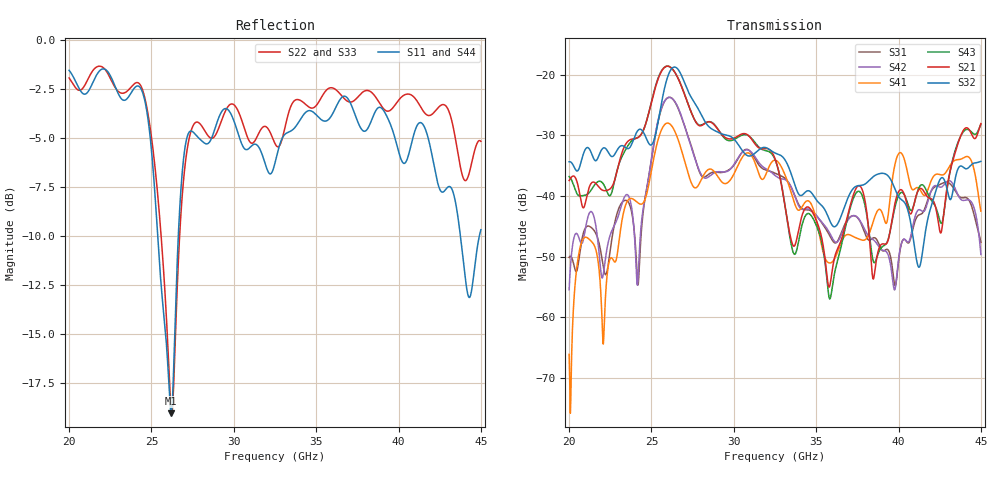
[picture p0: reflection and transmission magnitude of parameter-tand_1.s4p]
! TOUCHSTONE file generated by CST MICROWAVE STUDIO
! Date and time: Fri Jun  7 21:43:28 2024
! Project name: Final_26GHz_linear.cst
! Parameters = {tand=0.003478; Connector_spacing=15.33; Coplanar_gap=0.425; Distance_inner=4.78238; Distance_outer=14.3471; L=2.6; L_pad=5; Length_strip_inner=24.3248; Length_strip_outer=27.8328; Pad_via_diameter=2.1; Pad_via_x_centre=3.75; Pad_via_z_centre=2.8; Patch_spacing=5.76524; Via_diameter=0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
! Header version: 2024
! Port assignment regex: !\s*Touchstone port\s*([0-9]+)\s*=\s*(CST MWS port|CST DES external port|CST DES block port)\s*(.+)\s* \(\"(.*)\"\)(\s*mode\s*([0-9]+))?.*
! Touchstone port assignment:
! Touchstone port 1 = CST MWS port 1 ("")
! Touchstone port 2 = CST MWS port 2 ("")
! Touchstone port 3 = CST MWS port 3 ("")
! Touchstone port 4 = CST MWS port 4 ("")
# GHz S MA R 50
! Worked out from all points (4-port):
!   1001 points, 20 GHz to 45 GHz, reference 50 ohm
!   strongest paths, dB at 20 GHz, 26.25 GHz, 32.5 GHz, 38.75 GHz, 45 GHz:
!     S32: -34.4, -18.9, -32.9, -36.4, -34.3
!     S21: -37.5, -19.0, -33.8, -49.2, -28.1
!     S43: -36.8, -19.0, -34.0, -49.6, -28.2
!     S41: -66.1, -28.5, -34.1, -42.4, -42.5
!     S42: -55.5, -23.9, -36.6, -48.1, -49.6
!     S31: -50.1, -23.9, -36.3, -47.6, -47.7
!   lowest |S11| = -19.1 dB at 26.2 GHz (marker M1), VSWR 1.25, Z = 61.4 + j5.04 ohm
!   |S11| at or under -10 dB: 25.38 GHz to 26.63 GHz (1.251 GHz wide, 4.81 % of centre); 43.76 GHz to 44.91 GHz (1.148 GHz wide, 2.59 % of centre)
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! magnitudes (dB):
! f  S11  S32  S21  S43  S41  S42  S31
! 20 GHz  -1.5  -34.4  -37.5  -36.8  -66.1  -55.5  -50.1
! 20.8 GHz  -2.7  -33.7  -41.7  -40.0  -47.4  -47.8  -46.9
! 22.07 GHz  -1.5  -32.1  -39.1  -38.0  -64.4  -52.9  -51.6
! 24.2 GHz  -2.3  -29.1  -30.4  -30.3  -41.2  -52.7  -54.5
! 26.2 GHz  -19.1  -19.1  -18.9  -18.9  -28.4  -23.8  -23.8
! 35.83 GHz  -4.0  -44.1  -54.8  -57.0  -51.1  -46.2  -46.6
! 45 GHz  -9.7  -34.3  -28.1  -28.2  -42.5  -49.6  -47.7
